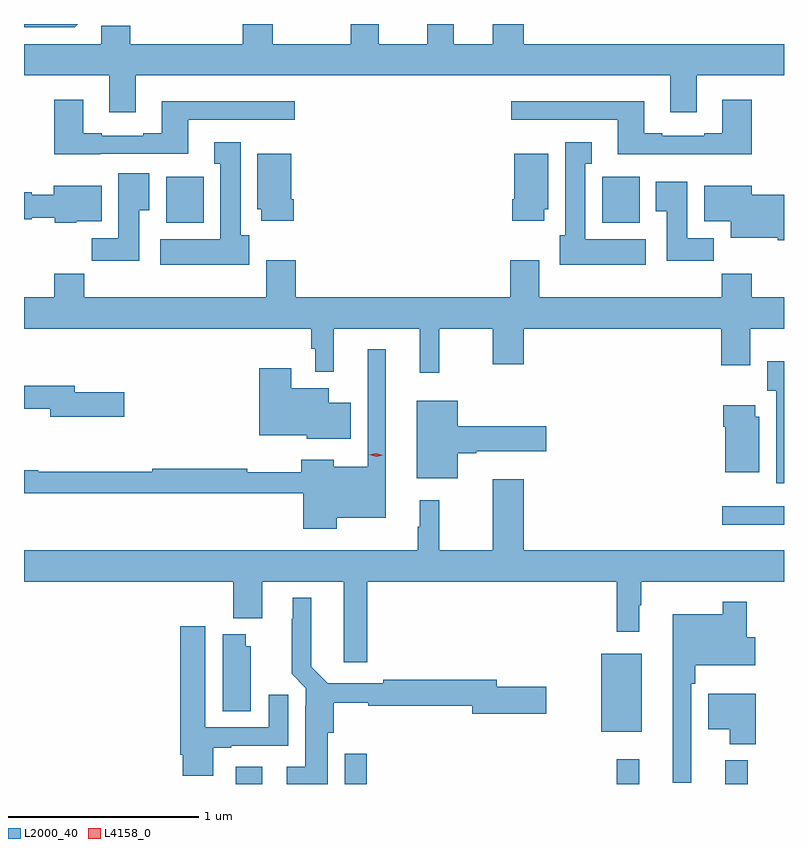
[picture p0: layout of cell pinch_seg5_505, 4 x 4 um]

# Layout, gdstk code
import gdstk
lib = gdstk.Library(unit=1e-6, precision=1e-09)
def R(c, l, rs):  # rectangles x0, y0, x1, y1
    for r in rs: c.add(gdstk.rectangle(r[:2], r[2:], *l))
def P(c, l, *ps):  # polygons
    for p in ps: c.add(gdstk.Polygon(p, *l))
L2000_40 = (2000, 40)
L4158_0 = (4158, 0)

pinch_seg5_505 = lib.new_cell('pinch_seg5_505')
R(pinch_seg5_505, L2000_40, [(930.887,851.699,931.027,851.791), (931.461,851.699,931.577,851.857), (932.893,851.699,933.011,851.83), (933.464,851.699,933.581,851.824), (932.81,851.975,933.025,852.385), (933.447,853.064,933.773,853.161), (930.521,854.654,930.718,854.896), (932.816,854.654,933.013,854.896)])
P(pinch_seg5_505, L2000_40, [(930.361,855.428),(933.173,855.428),(933.173,855.234),(933.313,855.234),(933.313,855.428),(933.773,855.428),(933.773,855.592),(932.404,855.592),(932.404,855.699),(932.24,855.699),(932.24,855.592),(932.035,855.592),(932.035,855.699),(931.895,855.699),(931.895,855.592),(931.639,855.592),(931.639,855.699),(931.492,855.699),(931.492,855.592),(931.083,855.592),(931.083,855.699),(930.923,855.699),(930.923,855.592),(930.332,855.592),(930.332,855.69),(930.18,855.69),(930.18,855.592),(929.773,855.592),(929.773,855.428),(930.221,855.428),(930.221,855.234),(930.361,855.234)],
  [(930.057,855.699),(929.773,855.699),(929.773,855.681),(930.039,855.681)],
  [(930.173,855.015),(930.637,855.015),(930.637,855.195),(931.198,855.195),(931.198,855.292),(930.497,855.292),(930.497,855.124),(930.401,855.124),(930.401,855.111),(930.181,855.111),(930.181,855.124),(930.085,855.124),(930.085,855.301),(929.933,855.301),(929.933,855.014),(930.173,855.014)],
  [(933.602,855.301),(933.449,855.301),(933.449,855.124),(933.353,855.124),(933.353,855.111),(933.133,855.111),(933.133,855.124),(933.037,855.124),(933.037,855.292),(932.337,855.292),(932.337,855.195),(932.897,855.195),(932.897,855.014),(933.602,855.014)],
  [(933.046,854.566),(932.728,854.566),(932.728,854.963),(932.761,854.963),(932.761,855.076),(932.621,855.076),(932.621,854.586),(932.594,854.586),(932.594,854.432),(933.046,854.432)],
  [(930.958,854.586),(930.913,854.586),(930.913,855.076),(930.773,855.076),(930.773,854.963),(930.806,854.963),(930.806,854.566),(930.489,854.566),(930.489,854.432),(930.958,854.432)],
  [(932.512,854.724),(932.533,854.724),(932.533,855.016),(932.354,855.016),(932.354,854.776),(932.342,854.776),(932.342,854.664),(932.512,854.664)],
  [(931.193,854.776),(931.18,854.776),(931.18,855.016),(931.001,855.016),(931.001,854.724),(931.022,854.724),(931.022,854.664),(931.193,854.664)],
  [(930.379,854.72),(930.433,854.72),(930.433,854.914),(930.269,854.914),(930.269,854.572),(930.13,854.572),(930.13,854.454),(930.379,854.454)],
  [(933.404,854.572),(933.265,854.572),(933.265,854.869),(933.098,854.869),(933.098,854.713),(933.155,854.713),(933.155,854.454),(933.404,854.454)],
  [(930.048,854.66),(930.181,854.66),(930.181,854.848),(929.93,854.848),(929.93,854.8),(929.814,854.8),(929.814,854.813),(929.773,854.813),(929.773,854.671),(929.814,854.671),(929.814,854.678),(929.934,854.678),(929.934,854.654),(930.048,854.654)],
  [(933.773,854.8),(933.604,854.8),(933.604,854.848),(933.353,854.848),(933.353,854.66),(933.494,854.66),(933.494,854.573),(933.74,854.573),(933.74,854.562),(933.773,854.562)],
  [(931.958,854.096),(932.24,854.096),(932.24,853.908),(932.404,853.908),(932.404,854.096),(933.443,854.096),(933.443,853.902),(933.595,853.902),(933.595,854.096),(933.773,854.096),(933.773,854.26),(933.602,854.26),(933.602,854.384),(933.445,854.384),(933.445,854.26),(932.485,854.26),(932.485,854.455),(932.333,854.455),(932.333,854.26),(931.202,854.26),(931.202,854.455),(931.049,854.455),(931.049,854.26),(930.089,854.26),(930.089,854.384),(929.933,854.384),(929.933,854.26),(929.773,854.26),(929.773,854.096),(931.285,854.096),(931.285,853.989),(931.305,853.989),(931.305,853.868),(931.403,853.868),(931.403,854.096),(931.856,854.096),(931.856,853.863),(931.958,853.863)],
  [(931.419,853.1),(931.678,853.1),(931.678,853.987),(931.581,853.987),(931.581,853.369),(931.402,853.369),(931.402,853.405),(931.232,853.405),(931.232,853.34),(930.948,853.34),(930.948,853.358),(930.448,853.358),(930.448,853.343),(929.848,853.343),(929.848,853.351),(929.773,853.351),(929.773,853.23),(931.244,853.23),(931.244,853.043),(931.419,853.043)],
  [(933.773,853.924),(933.686,853.924),(933.686,853.77),(933.731,853.77),(933.731,853.281),(933.773,853.281)],
  [(931.492,853.705),(931.378,853.705),(931.378,853.783),(931.18,853.783),(931.18,853.888),(931.01,853.888),(931.01,853.535),(931.26,853.535),(931.26,853.517),(931.492,853.517)],
  [(930.301,853.761),(930.04,853.761),(930.04,853.795),(929.773,853.795),(929.773,853.674),(929.912,853.674),(929.912,853.631),(930.301,853.631)],
  [(932.056,853.439),(932.152,853.439),(932.152,853.451),(932.521,853.451),(932.521,853.581),(932.056,853.581),(932.056,853.717),(931.841,853.717),(931.841,853.307),(932.056,853.307)],
  [(933.643,853.632),(933.622,853.632),(933.622,853.693),(933.452,853.693),(933.452,853.58),(933.464,853.58),(933.464,853.34),(933.643,853.34)],
  [(931.58,852.764),(932.893,852.764),(932.893,852.501),(933.01,852.501),(933.01,852.641),(933.022,852.641),(933.022,852.764),(933.773,852.764),(933.773,852.928),(932.404,852.928),(932.404,853.303),(932.24,853.303),(932.24,852.928),(931.958,852.928),(931.958,853.192),(931.856,853.192),(931.856,853.052),(931.845,853.052),(931.845,852.928),(929.773,852.928),(929.773,852.764),(930.875,852.764),(930.875,852.572),(931.027,852.572),(931.027,852.764),(931.457,852.764),(931.457,852.339),(931.58,852.339)],
  [(931.372,851.97),(931.403,851.97),(931.403,852.127),(931.586,852.127),(931.586,852.112),(932.132,852.112),(932.132,852.07),(932.521,852.07),(932.521,852.212),(932.26,852.212),(932.26,852.248),(931.663,852.248),(931.663,852.228),(931.372,852.228),(931.285,852.316),(931.285,852.679),(931.187,852.679),(931.187,852.569),(931.183,852.569),(931.183,852.278),(931.257,852.204),(931.257,852.11),(931.253,852.11),(931.253,851.791),(931.155,851.791),(931.155,851.699),(931.372,851.699)],
  [(933.285,852.227),(933.305,852.227),(933.305,852.323),(933.622,852.323),(933.622,852.471),(933.578,852.471),(933.578,852.658),(933.45,852.658),(933.45,852.592),(933.188,852.592),(933.188,851.706),(933.285,851.706)],
  [(930.769,851.889),(930.865,851.889),(930.865,851.901),(931.165,851.901),(931.165,852.169),(931.061,852.169),(931.061,851.997),(930.727,851.997),(930.727,852.529),(930.596,852.529),(930.596,851.854),(930.608,851.854),(930.608,851.742),(930.769,851.742)],
  [(930.967,852.423),(930.94,852.423),(930.94,852.487),(930.818,852.487),(930.818,852.082),(930.967,852.082)],
  [(933.623,852.175),(933.374,852.175),(933.374,851.987),(933.488,851.987),(933.488,851.909),(933.623,851.909)])
P(pinch_seg5_505, L4158_0, [(931.626,853.421),(931.591,853.433),(931.591,853.433),(931.591,853.433),(931.627,853.441),(931.662,853.43),(931.662,853.429),(931.662,853.429)])

lib.write_gds('pinch_seg5_505.gds')
